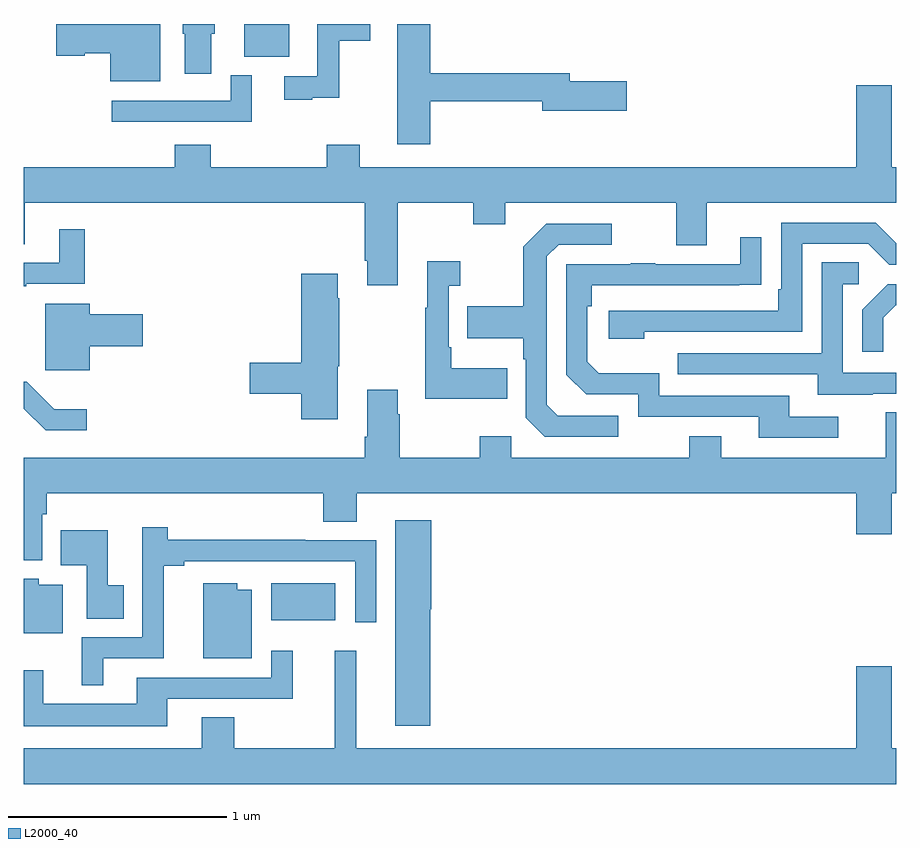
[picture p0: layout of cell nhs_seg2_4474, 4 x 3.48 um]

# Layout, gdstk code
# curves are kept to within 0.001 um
import gdstk
lib = gdstk.Library(unit=1e-6, precision=1e-09)
def R(c, l, rs):  # rectangles x0, y0, x1, y1
    for r in rs: c.add(gdstk.rectangle(r[:2], r[2:], *l))
def P(c, l, *ps):  # polygons
    for p in ps: c.add(gdstk.Polygon(p, *l))
L2000_40 = (2000, 40)

nhs_seg2_4474 = lib.new_cell('nhs_seg2_4474')
R(nhs_seg2_4474, L2000_40, [(354.134,635.066,354.427,635.236), (354.011,637.649,354.217,637.8)])
P(nhs_seg2_4474, L2000_40, [(353.86,637.755),(353.875,637.755),(353.875,637.8),(353.729,637.8),(353.729,637.755),(353.738,637.755),(353.738,637.572),(353.86,637.572)],
  [(353.626,637.8),(353.148,637.8),(353.148,637.655),(353.28,637.655),(353.28,637.667),(353.396,637.667),(353.396,637.538),(353.626,637.538)],
  [(354.323,637.463),(354.446,637.463),(354.446,637.723),(354.589,637.723),(354.589,637.8),(354.345,637.8),(354.345,637.56),(354.195,637.56),(354.195,637.452),(354.323,637.452)],
  [(354.863,637.446),(355.376,637.446),(355.376,637.403),(355.765,637.403),(355.765,637.538),(355.504,637.538),(355.504,637.574),(354.863,637.574),(354.863,637.8),(354.713,637.8),(354.713,637.248),(354.863,637.248)],
  [(354.046,637.564),(353.949,637.564),(353.949,637.449),(353.403,637.449),(353.403,637.353),(354.046,637.353)],
  [(354.715,636.98),(355.06,636.98),(355.06,636.881),(355.207,636.881),(355.207,636.98),(355.991,636.98),(355.991,636.786),(356.131,636.786),(356.131,636.98),(357,636.98),(357,637.144),(356.98,637.144),(356.98,637.519),(356.816,637.519),(356.816,637.144),(354.541,637.144),(354.541,637.246),(354.389,637.246),(354.389,637.144),(353.858,637.144),(353.858,637.246),(353.693,637.246),(353.693,637.144),(353,637.144),(353,636.79),(353.005,636.79),(353.005,636.98),(354.563,636.98),(354.563,636.715),(354.575,636.715),(354.575,636.603),(354.715,636.603)],
  [(355.844,636.39),(356.568,636.39),(356.568,636.792),(356.871,636.792),(356.967,636.696),(357,636.696),(357,636.795),(356.907,636.888),(356.472,636.888),(356.472,636.583),(356.459,636.583),(356.459,636.486),(355.683,636.486),(355.683,636.356),(355.844,636.356)],
  [(355.726,636.003),(355.449,636.003),(355.398,636.054),(355.398,636.735),(355.452,636.789),(355.696,636.789),(355.696,636.885),(355.395,636.885),(355.29,636.779),(355.29,636.507),(355.033,636.507),(355.033,636.359),(355.29,636.359),(355.29,636.263),(355.302,636.263),(355.302,635.994),(355.389,635.907),(355.726,635.907)],
  [(353.011,636.609),(353.279,636.609),(353.279,636.859),(353.162,636.859),(353.162,636.705),(353,636.705),(353,636.597),(353.011,636.597)],
  [(356.734,636),(356.509,636),(356.509,636.096),(355.914,636.096),(355.914,636.199),(355.637,636.199),(355.584,636.252),(355.584,636.506),(355.604,636.506),(355.604,636.603),(356.381,636.604),(356.381,636.823),(356.285,636.823),(356.285,636.699),(355.895,636.699),(355.895,636.704),(355.783,636.704),(355.783,636.699),(355.488,636.699),(355.488,636.192),(355.578,636.102),(355.818,636.102),(355.818,636),(356.369,636),(356.369,635.904),(356.734,635.904)],
  [(355.217,636.223),(354.961,636.223),(354.961,636.319),(354.948,636.319),(354.948,636.599),(355,636.599),(355,636.712),(354.851,636.712),(354.851,636.499),(354.84,636.499),(354.84,636.083),(355.217,636.083)],
  [(356.893,636.105),(357,636.105),(357,636.201),(356.754,636.201),(356.754,636.606),(356.827,636.606),(356.827,636.707),(356.658,636.707),(356.658,636.291),(355.999,636.291),(355.999,636.195),(356.639,636.195),(356.639,636.101),(356.893,636.101)],
  [(354.439,636.231),(354.447,636.231),(354.447,636.542),(354.439,636.542),(354.439,636.655),(354.272,636.655),(354.272,636.248),(354.036,636.248),(354.036,636.106),(354.272,636.106),(354.272,635.988),(354.439,635.988)],
  [(356.941,636.453),(356.998,636.51),(357,636.51),(357,636.606),(356.96,636.606),(356.844,636.49),(356.844,636.297),(356.941,636.297)],
  [(353.302,636.323),(353.545,636.323),(353.545,636.47),(353.302,636.47),(353.302,636.517),(353.099,636.517),(353.099,636.212),(353.302,636.212)],
  [(353.29,636.034),(353.141,636.034),(353.015,636.16),(353,636.16),(353,636.037),(353.1,635.937),(353.29,635.937)],
  [(353.085,635.552),(353.105,635.552),(353.105,635.648),(354.374,635.648),(354.374,635.518),(354.526,635.518),(354.526,635.648),(356.816,635.648),(356.816,635.46),(356.98,635.46),(356.98,635.648),(357,635.648),(357,636.02),(356.951,636.02),(356.951,635.812),(356.197,635.812),(356.197,635.911),(356.05,635.911),(356.05,635.812),(355.236,635.812),(355.236,635.911),(355.09,635.911),(355.09,635.812),(354.723,635.812),(354.723,636.011),(354.715,636.011),(354.715,636.124),(354.575,636.124),(354.575,635.908),(354.563,635.908),(354.563,635.812),(353,635.812),(353,635.342),(353.085,635.342)],
  [(354.863,635.118),(354.868,635.118),(354.868,635.524),(354.704,635.524),(354.704,634.584),(354.863,634.584)],
  [(353.365,634.893),(353.642,634.893),(353.642,635.317),(353.737,635.317),(353.737,635.337),(354.519,635.337),(354.519,635.058),(354.615,635.058),(354.615,635.433),(354.29,635.433),(354.29,635.435),(353.66,635.435),(353.66,635.494),(353.544,635.494),(353.544,634.989),(353.267,634.989),(353.267,634.769),(353.365,634.769)],
  [(353.459,635.226),(353.386,635.226),(353.386,635.479),(353.17,635.479),(353.17,635.318),(353.289,635.318),(353.289,635.074),(353.459,635.074)],
  [(353.179,635.23),(353.07,635.23),(353.07,635.257),(353,635.257),(353,635.006),(353.179,635.006)],
  [(354.046,635.206),(353.98,635.206),(353.98,635.236),(353.822,635.236),(353.822,634.892),(354.046,634.892)],
  [(357,634.48),(356.98,634.48),(356.98,634.855),(356.816,634.855),(356.816,634.48),(354.524,634.48),(354.524,634.927),(354.425,634.927),(354.425,634.48),(353.964,634.48),(353.964,634.622),(353.816,634.622),(353.816,634.48),(353,634.48),(353,634.316),(357,634.316)],
  [(353.659,634.707),(354.233,634.707),(354.233,634.927),(354.135,634.927),(354.135,634.803),(353.519,634.803),(353.519,634.684),(353.089,634.684),(353.089,634.837),(353,634.837),(353,634.58),(353.659,634.58)])

lib.write_gds('nhs_seg2_4474.gds')
